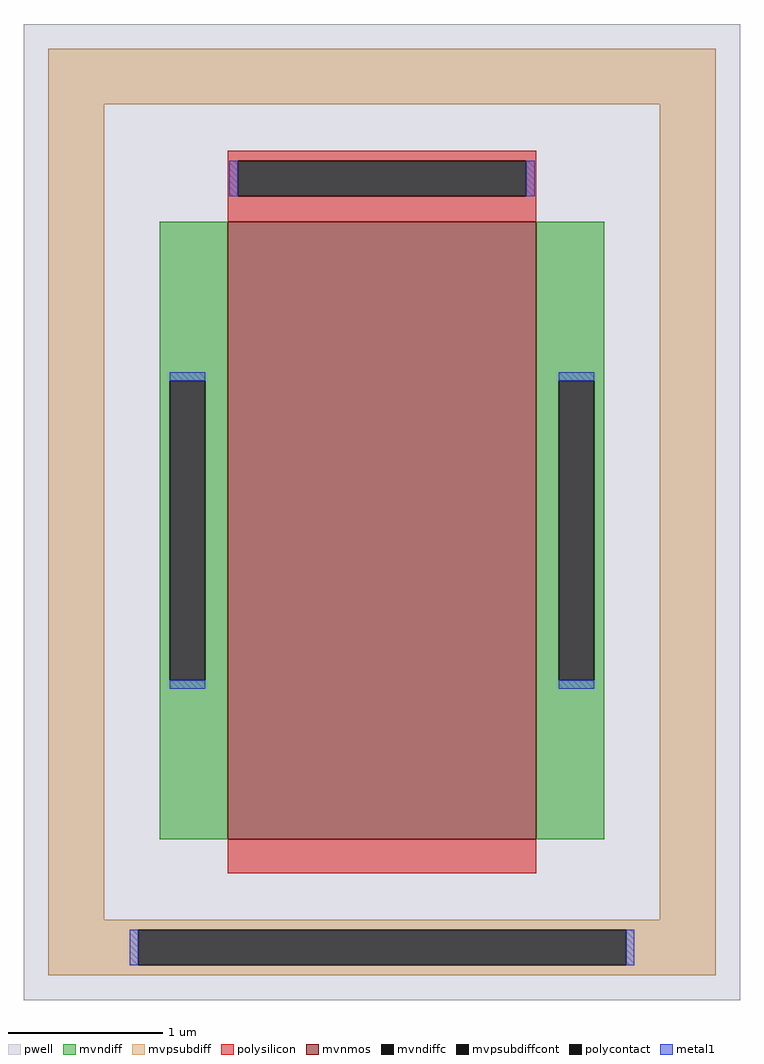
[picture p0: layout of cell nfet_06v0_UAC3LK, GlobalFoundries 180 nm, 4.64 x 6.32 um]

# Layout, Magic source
magic
tech gf180mcuD
magscale 1 10
<< pwell >>
rect -464 -632 464 632
<< mvnmos >>
rect -200 -424 200 376
<< mvndiff >>
rect -288 170 -200 376
rect -288 -218 -275 170
rect -229 -218 -200 170
rect -288 -424 -200 -218
rect 200 170 288 376
rect 200 -218 229 170
rect 275 -218 288 170
rect 200 -424 288 -218
<< mvndiffc >>
rect -275 -218 -229 170
rect 229 -218 275 170
<< mvpsubdiff >>
rect -432 528 432 600
rect -432 -528 -360 528
rect 360 -528 432 528
rect -432 -541 432 -528
rect -432 -587 -316 -541
rect 316 -587 432 -541
rect -432 -600 432 -587
<< mvpsubdiffcont >>
rect -316 -587 316 -541
<< polysilicon >>
rect -200 455 200 468
rect -200 409 -187 455
rect 187 409 200 455
rect -200 376 200 409
rect -200 -468 200 -424
<< polycontact >>
rect -187 409 187 455
<< metal1 >>
rect -198 409 -187 455
rect 187 409 198 455
rect -275 170 -229 181
rect -275 -229 -229 -218
rect 229 170 275 181
rect 229 -229 275 -218
rect -327 -587 -316 -541
rect 316 -587 327 -541
<< properties >>
string FIXED_BBOX -396 -564 396 564
string gencell nfet_06v0
string library gf180mcu
string parameters w 4 l 2.0 m 1 nf 1 diffcov 50 polycov 100 guard 1 glc 0 grc 0 gtc 0 gbc 1 tbcov 100 rlcov 100 topc 1 botc 0 poverlap 0 doverlap 1 lmin 0.6 wmin 0.3 class mosfet full_metal 0 compatible {nfet_03v3 nfet_06v0 nfet_06v0_nvt}
<< end >>
